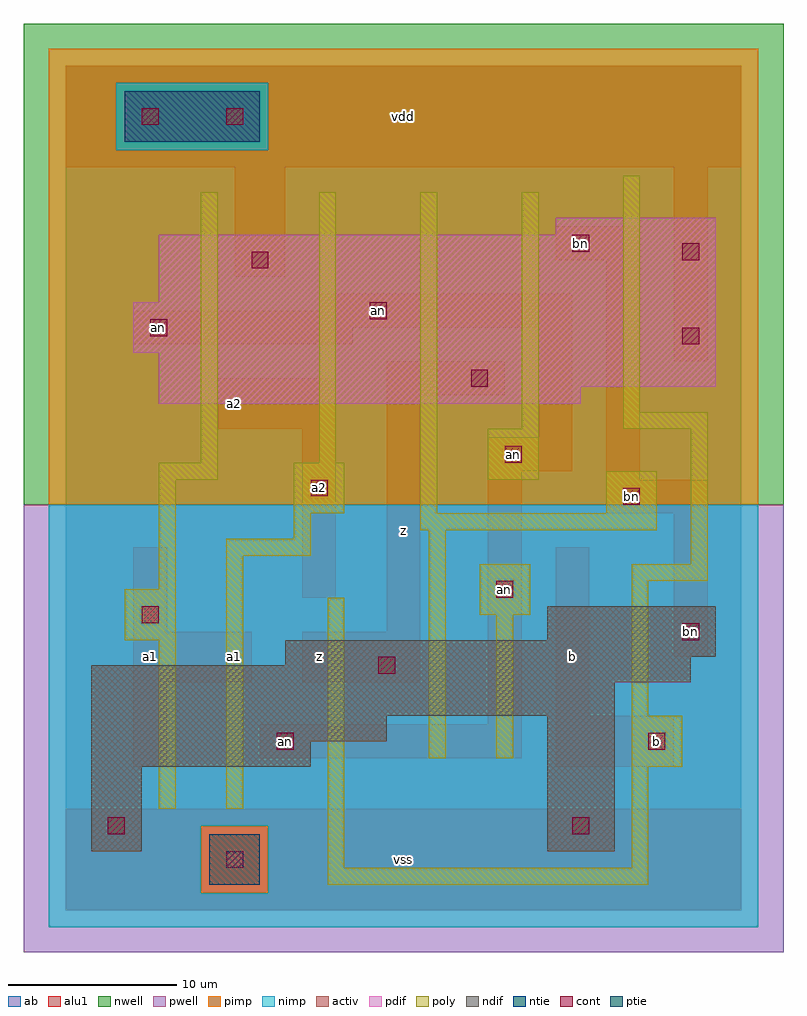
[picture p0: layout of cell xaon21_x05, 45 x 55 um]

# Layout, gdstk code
import gdstk
lib = gdstk.Library(unit=1e-6, precision=1e-09)
def R(c, l, rs):  # rectangles x0, y0, x1, y1
    for r in rs: c.add(gdstk.rectangle(r[:2], r[2:], *l))
ndif = (3, 0)
pdif = (4, 0)
ntie = (5, 0)
ptie = (6, 0)
cont = (25, 0)
pwell = (41, 0)
nwell = (42, 0)
activ = (43, 0)
pimp = (44, 0)
nimp = (45, 0)
poly = (46, 0)
alu1 = (49, 0)
ab = (63, 0)

xaon21_x05 = lib.new_cell('xaon21_x05')
R(xaon21_x05, ndif, [(1.5,3.5,4.5,8.5), (28.5,3.5,32.5,11.5), (1.5,8.5,14.5,10), (1.5,10,19,11.5), (1.5,11.5,32.5,13.5), (1.5,13.5,37,14.5), (13,14.5,37,15), (13,15,38.5,16), (28.5,16,38.5,18)])
R(xaon21_x05, pdif, [(5.5,30,30.5,31), (5.5,31,38.5,33), (4,33,38.5,36), (5.5,36,38.5,40), (29,40,38.5,41)])
R(xaon21_x05, ntie, [(3.5,45.5,11.5,48.5)])
R(xaon21_x05, ptie, [(8.5,1.5,11.5,4.5)])
R(xaon21_x05, cont, [(9.5,2.5,10.5,3.5), (2.5,4.5,3.5,5.5), (30,4.5,31,5.5), (12.5,9.5,13.5,10.5), (34.5,9.5,35.5,10.5), (18.5,14,19.5,15), (36.5,16,37.5,17), (4.5,17,5.5,18), (25.5,18.5,26.5,19.5), (33,24,34,25), (14.5,24.5,15.5,25.5), (26,26.5,27,27.5), (24,31,25,32), (36.5,33.5,37.5,34.5), (5,34,6,35), (18,35,19,36), (11,38,12,39), (36.5,38.5,37.5,39.5), (30,39,31,40), (4.5,46.5,5.5,47.5), (9.5,46.5,10.5,47.5)])
R(xaon21_x05, pwell, [(-2.5,-2.5,42.5,24)])
R(xaon21_x05, nwell, [(-2.5,24,42.5,52.5)])
R(xaon21_x05, activ, [(8.5,1.5,11.5,4.5), (1.5,3.5,4.5,8.5), (28.5,3.5,32.5,11.5), (1.5,8.5,14.5,10), (1.5,10,19,11.5), (1.5,11.5,32.5,13.5), (1.5,13.5,37,14.5), (13,14.5,37,15), (13,15,38.5,16), (28.5,16,38.5,18), (5.5,30,30.5,31), (5.5,31,38.5,33), (4,33,38.5,36), (5.5,36,38.5,40), (29,40,38.5,41), (3.5,45.5,11.5,48.5)])
R(xaon21_x05, pimp, [(8,1,12,5), (-1,24,41,45), (-1,45,3,49), (12,45,41,49), (-1,49,41,51)])
R(xaon21_x05, nimp, [(-1,-1,41,1), (-1,1,8,5), (12,1,41,5), (-1,5,41,24), (3,45,12,49)])
R(xaon21_x05, poly, [(15.5,1.5,34.5,2.5), (15.5,2.5,16.5,18.5), (33.5,2.5,34.5,8.5), (5.5,6,6.5,16), (9.5,6,10.5,21), (33.5,8.5,36.5,11.5), (21.5,9,22.5,22.5), (25.5,9,26.5,17.5), (33.5,11.5,34.5,19.5), (3.5,16,6.5,19), (24.5,17.5,27.5,20.5), (5.5,19,6.5,25.5), (33.5,19.5,38,20.5), (37,20.5,38,28.5), (9.5,21,14.5,22), (13.5,22,14.5,23.5), (21,22.5,35,23.5), (13.5,23.5,16.5,26.5), (21,23.5,22,42.5), (32,23.5,35,26), (5.5,25.5,9,26.5), (25,25.5,28,28.5), (8,26.5,9,42.5), (15,26.5,16,42.5), (27,28.5,28,42.5), (33,28.5,38,29.5), (33,29.5,34,43.5)])
R(xaon21_x05, alu1, [(0,0,40,6), (0,0,40,6), (4,8.5,6,13.5), (4,8.5,6,13.5), (29,8.5,36,11.5), (29,8.5,36,11.5), (11.5,9,27,11), (11.5,9,27,11), (25,11,27,26), (25,11,27,26), (29,11.5,31,21.5), (29,11.5,31,21.5), (4,13.5,11,16.5), (4,13.5,11,16.5), (14,13.5,21,16.5), (14,13.5,21,16.5), (36,15,38,23.5), (36,15,38,23.5), (4,16.5,6,21.5), (4,16.5,6,21.5), (19,16.5,21,30.5), (19,16.5,21,30.5), (14,18.5,16,28.5), (14,18.5,16,28.5), (32,23.5,38,25.5), (32,23.5,38,25.5), (32,25.5,34,38.5), (32,25.5,34,38.5), (25,26,30,28), (25,26,30,28), (28,28,30,34.5), (28,28,30,34.5), (9,28.5,16,31.5), (9,28.5,16,31.5), (19,30.5,26,32.5), (19,30.5,26,32.5), (36,32.5,38,44), (36,32.5,38,44), (4,33.5,17,34.5), (4,33.5,17,34.5), (4,34.5,30,35.5), (4,34.5,30,35.5), (15,35.5,30,36.5), (15,35.5,30,36.5), (10,37.5,13,44), (10,37.5,13,44), (29,38.5,34,40.5), (29,38.5,34,40.5), (0,44,40,50), (0,44,40,50)])
R(xaon21_x05, ab, [(0,0,40,50)])
xaon21_x05.add(gdstk.Label('an', (5.5,34.5), layer=49, texttype=0))
xaon21_x05.add(gdstk.Label('an', (13,10), layer=49, texttype=0))
xaon21_x05.add(gdstk.Label('an', (18.5,35.5), layer=49, texttype=0))
xaon21_x05.add(gdstk.Label('an', (26,19), layer=49, texttype=0))
xaon21_x05.add(gdstk.Label('an', (26.5,27), layer=49, texttype=0))
xaon21_x05.add(gdstk.Label('bn', (37,16.5), layer=49, texttype=0))
xaon21_x05.add(gdstk.Label('bn', (33.5,24.5), layer=49, texttype=0))
xaon21_x05.add(gdstk.Label('bn', (30.5,39.5), layer=49, texttype=0))
xaon21_x05.add(gdstk.Label('a1', (5,15), layer=49, texttype=0))
xaon21_x05.add(gdstk.Label('a1', (10,15), layer=49, texttype=0))
xaon21_x05.add(gdstk.Label('z', (15,15), layer=49, texttype=0))
xaon21_x05.add(gdstk.Label('a2', (15,25), layer=49, texttype=0))
xaon21_x05.add(gdstk.Label('a2', (10,30), layer=49, texttype=0))
xaon21_x05.add(gdstk.Label('vss', (20,3), layer=49, texttype=0))
xaon21_x05.add(gdstk.Label('z', (20,22.5), layer=49, texttype=0))
xaon21_x05.add(gdstk.Label('vdd', (20,47), layer=49, texttype=0))
xaon21_x05.add(gdstk.Label('b', (35,10), layer=49, texttype=0))
xaon21_x05.add(gdstk.Label('b', (30,15), layer=49, texttype=0))

lib.write_gds('xaon21_x05.gds')
